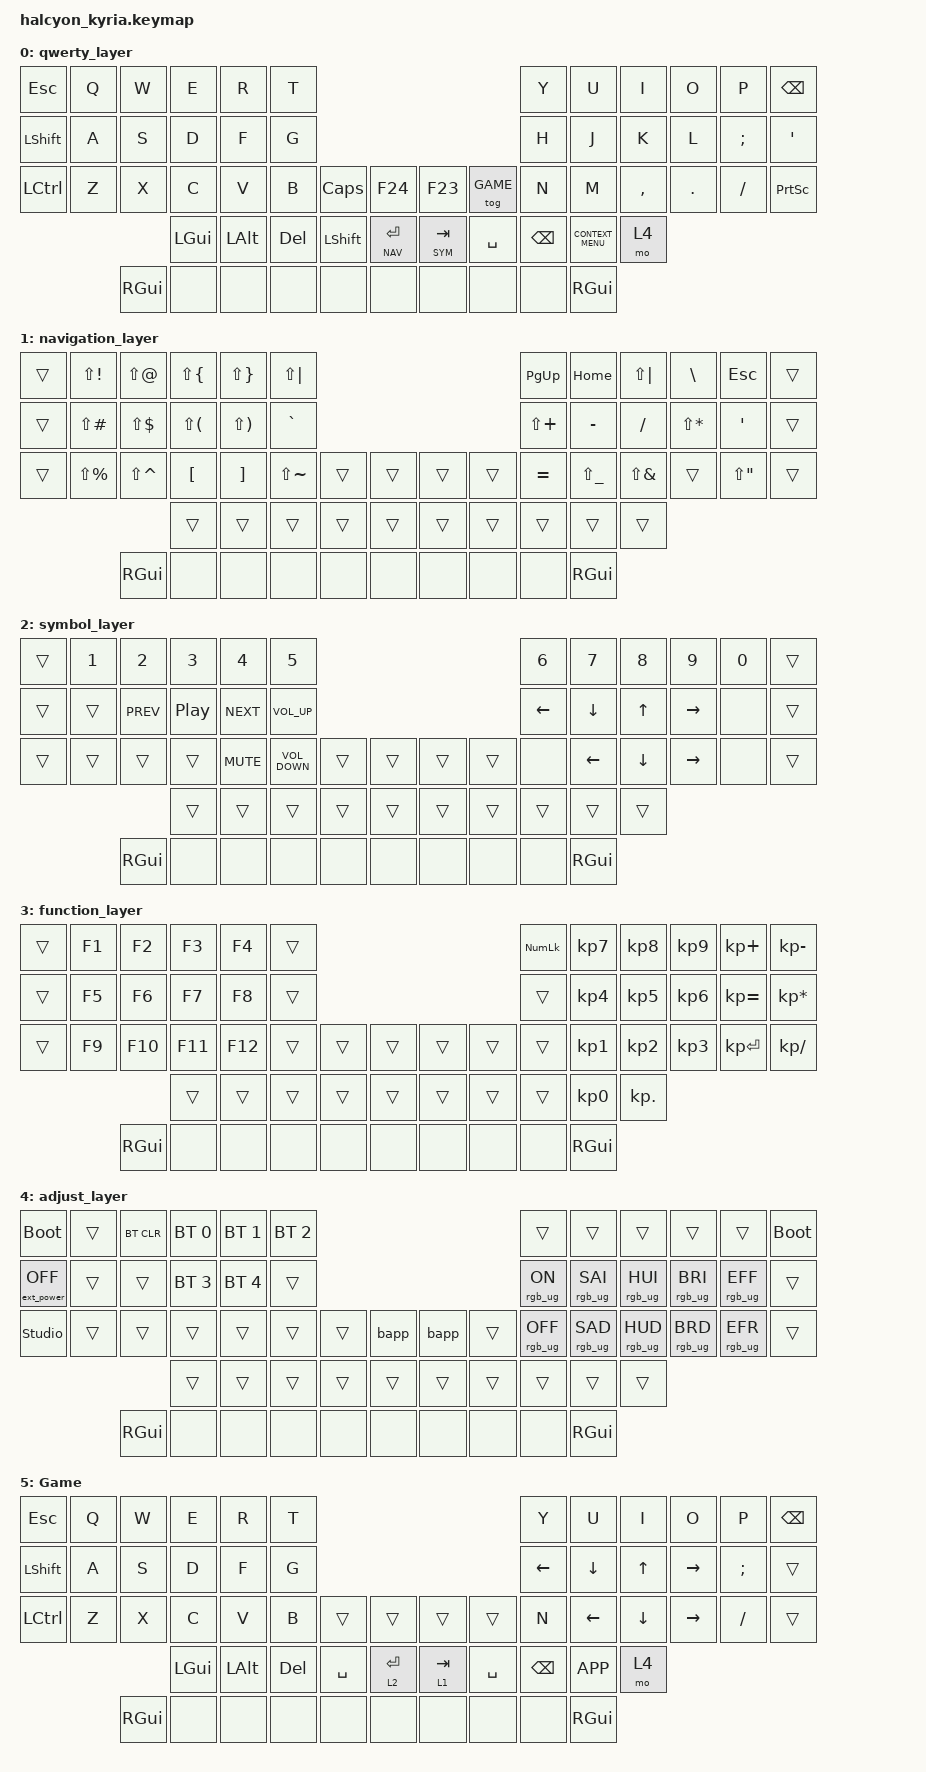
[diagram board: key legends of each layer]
/*
 * Copyright (c) 2023 The ZMK Contributors
 *
 * SPDX-License-Identifier: MIT
 */

#include <behaviors/battery_percentage_printer.dtsi>
#include <behaviors.dtsi>
#include <dt-bindings/zmk/bt.h>
#include <dt-bindings/zmk/ext_power.h>
#include <dt-bindings/zmk/keys.h>
#include <dt-bindings/zmk/rgb.h>

#define DEFAULT  0
#define NAV      1
#define SYM      2
#define FUNCTION 3
#define ADJUST   4
#define GAME     5

&led_strip {
    chain-length = <31>; // Uncomment if using both per-key and underglow LEDs
};

/ {
    conditional_layers {
        compatible = "zmk,conditional-layers";

        tri_layer {
            if-layers = <1 2>;
            then-layer = <3>;
        };
    };
};

/ {
    keymap {
        compatible = "zmk,keymap";

        qwerty_layer {
            bindings = <
&kp ESC         &kp Q  &kp W  &kp E         &kp R         &kp T                                                              &kp Y          &kp U               &kp I      &kp O    &kp P     &kp BSPC
&kp LEFT_SHIFT  &kp A  &kp S  &kp D         &kp F         &kp G                                                              &kp H          &kp J               &kp K      &kp L    &kp SEMI  &kp SQT
&kp LCTRL       &kp Z  &kp X  &kp C         &kp V         &kp B       &kp CAPSLOCK    &kp F24        &kp F23      &tog GAME  &kp N          &kp M               &kp COMMA  &kp DOT  &kp FSLH  &kp PRINTSCREEN
                              &kp LEFT_GUI  &kp LEFT_ALT  &kp DELETE  &kp LEFT_SHIFT  &lt NAV ENTER  &lt SYM TAB  &kp SPACE  &kp BACKSPACE  &kp K_CONTEXT_MENU  &mo 4
                        &kp RGUI &none &none &none &none    &none &none &none &none &kp RGUI

            >;

            // sensor-bindings = <&inc_dec_kp C_VOL_UP C_VOL_DN &inc_dec_kp PG_UP PG_DN>;
        };

        navigation_layer {
            bindings = <
&trans  &kp LS(EXCL)   &kp LS(AT)     &kp LS(LBRC)  &kp LS(RBRC)  &kp LS(PIPE)                                   &kp PG_UP     &kp HOME       &kp LS(PIPE)  &kp BSLH      &kp ESC      &trans
&trans  &kp LS(POUND)  &kp LS(DLLR)   &kp LS(LPAR)  &kp LS(RPAR)  &kp GRAVE                                      &kp LS(PLUS)  &kp MINUS      &kp FSLH      &kp LS(STAR)  &kp SQT      &trans
&trans  &kp LS(PRCNT)  &kp LS(CARET)  &kp LBKT      &kp RBKT      &kp LS(TILDE)  &trans  &trans  &trans  &trans  &kp EQUAL     &kp LS(UNDER)  &kp LS(AMPS)  &trans        &kp LS(DQT)  &trans
                                      &trans        &trans        &trans         &trans  &trans  &trans  &trans  &trans        &trans         &trans
                        &kp RGUI &none &none &none &none    &none &none &none &none &kp RGUI

            >;

            // sensor-bindings = <&inc_dec_kp C_VOL_UP C_VOL_DN &inc_dec_kp PG_UP PG_DN>;
        };

        symbol_layer {
            bindings = <
&trans  &kp N1  &kp N2      &kp N3            &kp N4      &kp N5                                             &kp N6    &kp N7    &kp N8    &kp N9     &kp N0  &trans
&trans  &trans  &kp C_PREV  &kp C_PLAY_PAUSE  &kp C_NEXT  &kp C_VOLUME_UP                                    &kp LEFT  &kp DOWN  &kp UP    &kp RIGHT  &none   &trans
&trans  &trans  &trans      &trans            &kp C_MUTE  &kp C_VOLUME_DOWN  &trans  &trans  &trans  &trans  &none     &kp LEFT  &kp DOWN  &kp RIGHT  &none   &trans
                            &trans            &trans      &trans             &trans  &trans  &trans  &trans  &trans    &trans    &trans
                        &kp RGUI &none &none &none &none    &none &none &none &none &kp RGUI

            >;

            // sensor-bindings = <&inc_dec_kp C_VOL_UP C_VOL_DN &inc_dec_kp PG_UP PG_DN>;
        };

        function_layer {
            bindings = <
&trans  &kp F1  &kp F2   &kp F3   &kp F4   &trans                                  &kp KP_NUMLOCK  &kp KP_NUMBER_7  &kp KP_NUMBER_8  &kp KP_NUMBER_9  &kp KP_PLUS   &kp KP_MINUS
&trans  &kp F5  &kp F6   &kp F7   &kp F8   &trans                                  &trans          &kp KP_NUMBER_4  &kp KP_NUMBER_5  &kp KP_NUMBER_6  &kp KP_EQUAL  &kp KP_ASTERISK
&trans  &kp F9  &kp F10  &kp F11  &kp F12  &trans  &trans  &trans  &trans  &trans  &trans          &kp KP_NUMBER_1  &kp KP_NUMBER_2  &kp KP_NUMBER_3  &kp KP_ENTER  &kp KP_SLASH
                         &trans   &trans   &trans  &trans  &trans  &trans  &trans  &trans          &kp KP_N0        &kp KP_DOT
                        &kp RGUI &none &none &none &none    &none &none &none &none &kp RGUI

            >;

            // sensor-bindings = <&inc_dec_kp C_VOL_UP C_VOL_DN &inc_dec_kp PG_UP PG_DN>;
        };

        adjust_layer {
            bindings = <
&bootloader  &trans  &bt BT_CLR  &bt BT_SEL 0  &bt BT_SEL 1  &bt BT_SEL 2                                  &trans           &trans           &trans           &trans           &trans           &bootloader
&ext_power EP_OFF       &trans  &trans      &bt BT_SEL 3  &bt BT_SEL 4  &trans                                        &rgb_ug RGB_ON   &rgb_ug RGB_SAI  &rgb_ug RGB_HUI  &rgb_ug RGB_BRI  &rgb_ug RGB_EFF  &trans
&studio_unlock       &trans  &trans      &trans        &trans        &trans        &trans  &bapp  &bapp  &trans  &rgb_ug RGB_OFF  &rgb_ug RGB_SAD  &rgb_ug RGB_HUD  &rgb_ug RGB_BRD  &rgb_ug RGB_EFR  &trans
                                 &trans        &trans        &trans        &trans  &trans  &trans  &trans  &trans           &trans           &trans
                        &kp RGUI &none &none &none &none    &none &none &none &none &kp RGUI

            >;

            // sensor-bindings = <&inc_dec_kp C_VOL_UP C_VOL_DN &inc_dec_kp PG_UP PG_DN>;
        };

        Game {
            bindings = <
&kp ESC    &kp Q  &kp W  &kp E     &kp R     &kp T                                                  &kp Y     &kp U      &kp I     &kp O      &kp P     &kp BSPC
&kp LSHFT  &kp A  &kp S  &kp D     &kp F     &kp G                                                  &kp LEFT  &kp DOWN   &kp UP    &kp RIGHT  &kp SEMI  &trans
&kp LCTRL  &kp Z  &kp X  &kp C     &kp V     &kp B    &trans     &trans       &trans     &trans     &kp N     &kp LEFT   &kp DOWN  &kp RIGHT  &kp FSLH  &trans
                         &kp LGUI  &kp LALT  &kp DEL  &kp SPACE  &lt 2 ENTER  &lt 1 TAB  &kp SPACE  &kp BSPC  &kp K_APP  &mo 4
                        &kp RGUI &none &none &none &none    &none &none &none &none &kp RGUI

            >;
        };
    };
};
